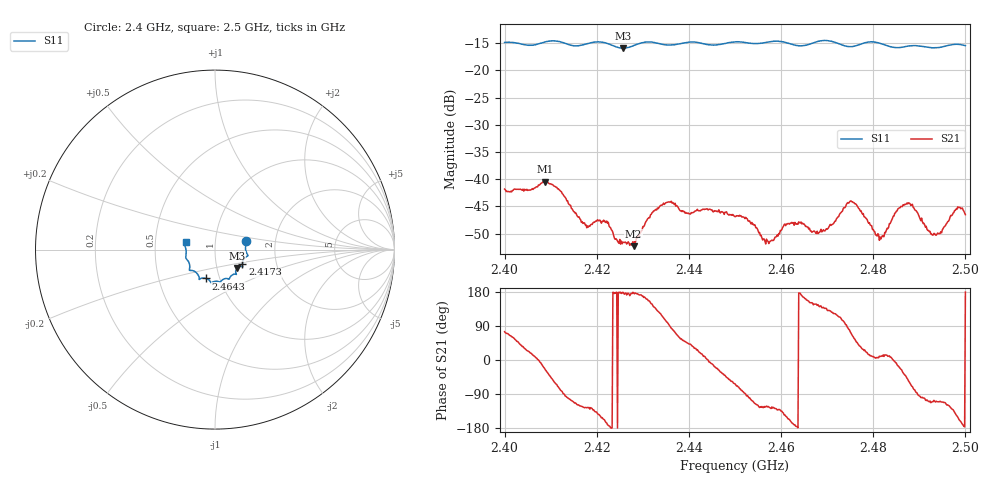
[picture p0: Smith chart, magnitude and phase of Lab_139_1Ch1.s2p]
# Hz S RI R 50
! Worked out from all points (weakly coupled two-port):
!   601 points, 2.4 GHz to 2.5 GHz, reference 50 ohm
!   highest |S21| = -40.44 dB at 2.4088 GHz (marker M1); lowest = -52.3 dB at 2.428 GHz (marker M2)
!   lowest |S11| = -15.9 dB at 2.4257 GHz (marker M3), VSWR 1.38, Z = 62.4 - j13.1 ohm
!   |S11| at or under -10 dB: start of sweep to end of sweep
!   S12 and S22 are empty: the file has one direction only
!   S11 on the Smith chart (normalised r, x): 2.4 GHz: 1.41, +0.14; 2.4173 GHz: 1.34, -0.23; 2.4643 GHz: 0.86, -0.28; 2.5 GHz: 0.72, +0.06
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2.4e9  0.1736 0.0495  0.00215 0.00784  0 0  0 0
2.408833e9  0.181 -0.027  0.00856 -0.00413  0 0  0 0
2.411833e9  0.1808 -0.0358  0.00218 -0.00771  0 0  0 0
2.416667e9  0.1529 -0.0747  -0.00215 -0.00339  0 0  0 0
2.417333e9  0.1524 -0.0822  -0.00233 -0.00322  0 0  0 0
2.422e9  0.1513 -0.0944  -0.00386 -0.00104  0 0  0 0
2.425667e9  0.1226 -0.1023  -0.00264 5.12e-05  0 0  0 0
2.428e9  0.115 -0.1237  -0.00242 0.000119  0 0  0 0
2.433333e9  0.1127 -0.1366  -0.00331 0.00422  0 0  0 0
2.436e9  0.0942 -0.1428  0.000312 0.00616  0 0  0 0
2.45e9  0.0296 -0.1807  0.00207 -0.00403  0 0  0 0
2.457e9  -0.0137 -0.1812  -0.00151 -0.00226  0 0  0 0
2.464333e9  -0.0503 -0.1605  -0.00401 0.000569  0 0  0 0
2.466667e9  -0.0761 -0.1597  -0.00286 0.00156  0 0  0 0
2.469833e9  -0.0879 -0.1666  -0.00253 0.00243  0 0  0 0
2.475e9  -0.1065 -0.1263  0.00166 0.00606  0 0  0 0
2.481167e9  -0.1423 -0.1084  0.00308 0.000324  0 0  0 0
2.483333e9  -0.1408 -0.0895  0.00356 0.000644  0 0  0 0
2.487333e9  -0.1574 -0.0544  0.00403 -0.00453  0 0  0 0
2.493167e9  -0.1607 -0.0116  -0.000902 -0.00305  0 0  0 0
2.498167e9  -0.1706 0.0321  -0.00448 -0.00283  0 0  0 0
2.5e9  -0.1636 0.0416  -0.00473 7.45e-05  0 0  0 0
